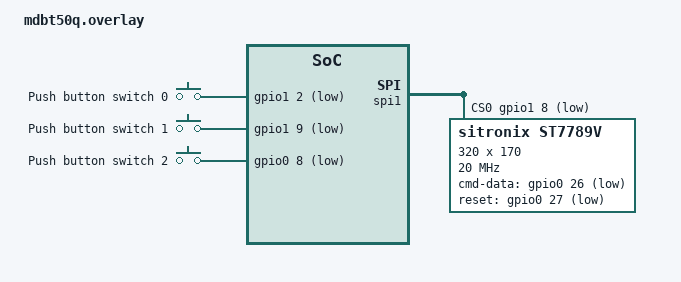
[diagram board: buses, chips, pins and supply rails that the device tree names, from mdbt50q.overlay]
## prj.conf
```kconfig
# CONFIG_USB_DEVICE_STACK=y
# CONFIG_USB_DEVICE_PRODUCT="Zephyr USB console sample"

# CONFIG_UART_LINE_CTRL=y


CONFIG_LV_Z_MEM_POOL_NUMBER_BLOCKS=8
CONFIG_MAIN_STACK_SIZE=2048
CONFIG_SYSTEM_WORKQUEUE_STACK_SIZE=3000
CONFIG_HEAP_MEM_POOL_SIZE=17000

CONFIG_DISPLAY=y
CONFIG_DISPLAY_LOG_LEVEL_ERR=y

CONFIG_LOG=y

CONFIG_LVGL=y

CONFIG_LV_MEM_CUSTOM=y
CONFIG_LV_USE_LOG=y
CONFIG_LV_USE_LABEL=y
CONFIG_LV_USE_BTN=y
CONFIG_LV_USE_IMG=y
CONFIG_LV_FONT_MONTSERRAT_14=y
CONFIG_LV_FONT_MONTSERRAT_20=y
```

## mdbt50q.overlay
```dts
// To get started, press Ctrl+Space to bring up the completion menu and view the available nodes.

// You can also use the buttons in the sidebar to perform actions on nodes.
// Actions currently available include:

// * Enabling / disabling the node
// * Adding the bus to a bus
// * Removing the node
// * Connecting ADC channels

// For more help, browse the DeviceTree documentation at https://docs.zephyrproject.org/latest/guides/dts/index.html
// You can also visit the nRF DeviceTree extension documentation at https://nrfconnect.github.io/vscode-nrf-connect/devicetree/nrfdevicetree.html

// To get started, press Ctrl+Space to bring up the completion menu and view the available nodes.

// You can also use the buttons in the sidebar to perform actions on nodes.
// Actions currently available include:

// * Enabling / disabling the node
// * Adding the bus to a bus
// * Removing the node
// * Connecting ADC channels

// For more help, browse the DeviceTree documentation at https://docs.zephyrproject.org/latest/guides/dts/index.html
// You can also visit the nRF DeviceTree extension documentation at https://nrfconnect.github.io/vscode-nrf-connect/devicetree/nrfdevicetree.html

/ {
	chosen {
		zephyr,display = &st7789v;
	};

    buttons {
        compatible = "gpio-keys";
        button0: button_0 {
            gpios = <&gpio1 2 (GPIO_PULL_UP | GPIO_ACTIVE_LOW)>;
            label = "Push button switch 0";
        };
        button1: button_1 {
            gpios = <&gpio1 9 (GPIO_PULL_UP | GPIO_ACTIVE_LOW)>;
            label = "Push button switch 1";
        };
        button2: button_2 {
            gpios = <&gpio0 8 (GPIO_PULL_UP | GPIO_ACTIVE_LOW)>;
            label = "Push button switch 2";
        };        
    };

    aliases {
		sw0 = &button0;
		sw1 = &button1;
		sw2 = &button2;
	};

};

&spi1 {
	status = "okay";
	cs-gpios = <&gpio1 8 GPIO_ACTIVE_LOW>; /* D5 TFT*/

    st7789v: st7789v@0 {
		compatible = "sitronix,st7789v";
		label = "ST7789V";
		spi-max-frequency = <20000000>;
		reg = <0>;
		cmd-data-gpios = <&gpio0 26 GPIO_ACTIVE_LOW>;	/* D9 */
		reset-gpios = <&gpio0 27 GPIO_ACTIVE_LOW>;	/* D10 */
		width = <320>;
		height = <170>;
		x-offset = <0>;
		y-offset = <35>;
		vcom = <0x2b>;
		gctrl = <0x35>;
		vrhs = <0x0f>;
		vdvs = <0x20>;
		mdac = <0x60>;
		gamma = <0x01>;
		colmod = <0x55>;
		lcm = <0x2c>;
		porch-param = [0c 0c 00 33 33];
		cmd2en-param = [5a 69 02 01];
		pwctrl1-param = [52 a1];
		pvgam-param = [D0 00 02 07 0B 1A 31 54 40 29 12 12 12 17];
		nvgam-param = [D0 00 02 07 05 15 2D 44 44 1C 18 16 1C 1D];
		ram-param = [00 F8];
		rgb-param = [CD 08 14];
	};
};
```

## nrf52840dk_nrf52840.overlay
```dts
// To get started, press Ctrl+Space to bring up the completion menu and view the available nodes.

// You can also use the buttons in the sidebar to perform actions on nodes.
// Actions currently available include:

// * Enabling / disabling the node
// * Adding the bus to a bus
// * Removing the node
// * Connecting ADC channels

// For more help, browse the DeviceTree documentation at https://docs.zephyrproject.org/latest/guides/dts/index.html
// You can also visit the nRF DeviceTree extension documentation at https://nrfconnect.github.io/vscode-nrf-connect/devicetree/nrfdevicetree.html

/ {
	chosen {
		zephyr,display = &st7789v;
	};
};

&spi1 {
	status = "okay";
	cs-gpios = <&arduino_header 15 GPIO_ACTIVE_LOW>;	/* D9 */

	st7789v: st7789v@0 {
		compatible = "sitronix,st7789v";
		label = "ST7789V";
		spi-max-frequency = <20000000>;
		reg = <0>;
		cmd-data-gpios = <&arduino_header 11 GPIO_ACTIVE_LOW>;	/* D5 */
		reset-gpios = <&arduino_header 12 GPIO_ACTIVE_LOW>;	/* D6 */
		width = <320>;
		height = <170>;
		x-offset = <0>;
		y-offset = <35>;
		vcom = <0x2b>;
		gctrl = <0x35>;
		vrhs = <0x0f>;
		vdvs = <0x20>;
		mdac = <0x60>;
		gamma = <0x01>;
		colmod = <0x55>;
		lcm = <0x2c>;
		porch-param = [0c 0c 00 33 33];
		cmd2en-param = [5a 69 02 01];
		pwctrl1-param = [52 a1];
		pvgam-param = [D0 00 02 07 0B 1A 31 54 40 29 12 12 12 17];
		nvgam-param = [D0 00 02 07 05 15 2D 44 44 1C 18 16 1C 1D];
		ram-param = [00 F8];
		rgb-param = [CD 08 14];
	};
};
```

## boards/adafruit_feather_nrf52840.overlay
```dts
// To get started, press Ctrl+Space to bring up the completion menu and view the available nodes.

// You can also use the buttons in the sidebar to perform actions on nodes.
// Actions currently available include:

// * Enabling / disabling the node
// * Adding the bus to a bus
// * Removing the node
// * Connecting ADC channels

// For more help, browse the DeviceTree documentation at https://docs.zephyrproject.org/latest/guides/dts/index.html
// You can also visit the nRF DeviceTree extension documentation at https://nrfconnect.github.io/vscode-nrf-connect/devicetree/nrfdevicetree.html

/ {
	chosen {
		zephyr,display = &st7789v;
	};
};

&feather_spi {
	status = "okay";
	cs-gpios = <&feather_header 16 GPIO_ACTIVE_LOW>;	/* D9 */

	st7789v: st7789v@0 {
		compatible = "sitronix,st7789v";
		label = "ST7789V";
		spi-max-frequency = <20000000>;
		reg = <0>;
		cmd-data-gpios = <&feather_header 14 GPIO_ACTIVE_LOW>;	/* D5 */
		reset-gpios = <&feather_header 15 GPIO_ACTIVE_LOW>;	/* D6 */
		width = <320>;
		height = <170>;
		x-offset = <0>;
		y-offset = <35>;
		vcom = <0x2b>;
		gctrl = <0x35>;
		vrhs = <0x0f>;
		vdvs = <0x20>;
		mdac = <0x60>;
		gamma = <0x01>;
		colmod = <0x55>;
		lcm = <0x2c>;
		porch-param = [0c 0c 00 33 33];
		cmd2en-param = [5a 69 02 01];
		pwctrl1-param = [52 a1];
		pvgam-param = [D0 00 02 07 0B 1A 31 54 40 29 12 12 12 17];
		nvgam-param = [D0 00 02 07 05 15 2D 44 44 1C 18 16 1C 1D];
		ram-param = [00 F8];
		rgb-param = [CD 08 14];
	};
};

/ {
	chosen {
		zephyr,console = &cdc_acm_uart0;
	};
};

&zephyr_udc0 {
	cdc_acm_uart0: cdc_acm_uart0 {
		compatible = "zephyr,cdc-acm-uart";
		label = "CDC_ACM_0";
	};
};
```

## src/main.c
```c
/*
 * Copyright (c) 2018 Jan Van Winkel <jan.van_winkel@dxplore.eu>
 *
 * SPDX-License-Identifier: Apache-2.0
 */

#include <zephyr/device.h>
#include <zephyr/devicetree.h>
#include <zephyr/drivers/display.h>
#include <zephyr/drivers/gpio.h>
#include <lvgl.h>
#include <stdio.h>
#include <string.h>
#include <zephyr/kernel.h>
#include "buttons.h"
// #include <zephyr/usb/usb_device.h>
#include <zephyr/drivers/uart.h>

#define LOG_LEVEL CONFIG_LOG_DEFAULT_LEVEL
#include <zephyr/logging/log.h>
LOG_MODULE_REGISTER(app);

#include "ui.h"

#define RENDER_INTERVAL_LVGL    K_MSEC(100)

static uint32_t count;

static lv_group_t *input_group;
static lv_indev_drv_t enc_drv;
static lv_indev_t *enc_indev;

static bool buttons_allocated = false;
static buttonId_t last_pressed;

static void lvgl_render(struct k_work *item);
K_WORK_DELAYABLE_DEFINE(lvgl_work, lvgl_render);

void run_init_work(struct k_work *item);
K_WORK_DEFINE(init_work, run_init_work);

static void onButtonPressCb(buttonPressType_t type, buttonId_t id);

static void enocoder_read(struct _lv_indev_drv_t *indev_drv, lv_indev_data_t *data)
{
    if (button_read(BUTTON_1)) {
        data->key = LV_KEY_RIGHT;
        data->state = LV_INDEV_STATE_PR;
        last_pressed = BUTTON_1;
    } else if (button_read(BUTTON_2)) {
        data->key = LV_KEY_ENTER;
        data->state = LV_INDEV_STATE_PR;
        last_pressed = BUTTON_2;
    } else if (button_read(BUTTON_3)) {
        data->key = LV_KEY_LEFT;
        data->state = LV_INDEV_STATE_PR;
        last_pressed = BUTTON_3;
    } else {
        if (last_pressed == 0xFF) {
            return;
        }
        data->state = LV_INDEV_STATE_REL;
        switch (last_pressed) {
            case BUTTON_1:
                data->key = LV_KEY_RIGHT;
                break;
            case BUTTON_2:
                data->key = LV_KEY_ENTER;
                break;
            case BUTTON_3:
                data->key = LV_KEY_LEFT;
                break;
        }
        last_pressed = 0xFF;
    }
}

static void onButtonPressCb(buttonPressType_t type, buttonId_t id)
{
    LOG_INF("Pressed %d, type: %d", id, type);

    // // Always allow force restart
    // if (type == BUTTONS_LONG_PRESS && id == BUTTON_3) {
        
    // }

    // if (type == BUTTONS_LONG_PRESS && id == BUTTON_2) {
    //     // TODO doesn't work, as this press is read later with lvgl and causes extra press in settings.
    //     // To fix each application must have exit button, maybe we can register long press on the whole view to exit
    //     // apps without input device
    //     //application_manager_exit_app();
    //     //return;
    // }

    // if (buttons_allocated) {
    //     // Handled by LVGL
    //     return;
    // }

    // if (type == BUTTONS_SHORT_PRESS) {
    //     if (id == BUTTON_3) {
    //         LOG_DBG("Close Watchface, open App Manager");
    //     } else if (id == BUTTON_2) {
    //         LOG_DBG("CloseWatchface, open Notifications page");
    //     } else {
    //         LOG_WRN("Unhandled button %d, type: %d, watch_state: %d", id, type, watch_state);
    //     }
    // } else {
    //     if (id == BUTTON_3) {
            
    //     } else {
    //         LOG_WRN("Unhandled button %d, type: %d, watch_state: %d", id, type, watch_state);
    //     }
    // }
}

static void lvgl_render(struct k_work *item)
{
    lv_task_handler();
    k_work_schedule(&lvgl_work, RENDER_INTERVAL_LVGL);
}

void run_init_work(struct k_work *item)
{
    int err;
	char count_str[11] = {0};
	const struct device *display_dev;

	LOG_INF("Hello World! %s\n", CONFIG_BOARD);

	display_dev = DEVICE_DT_GET(DT_CHOSEN(zephyr_display));
	if (!device_is_ready(display_dev)) {
		LOG_ERR("Device not ready, aborting test");
		return;
	}	

	buttonsInit(&onButtonPressCb);

	lv_indev_drv_init(&enc_drv);
    enc_drv.type = LV_INDEV_TYPE_ENCODER;
    enc_drv.read_cb = enocoder_read;
    enc_indev = lv_indev_drv_register(&enc_drv);

    input_group = lv_group_create();
    lv_group_set_default(input_group);
    lv_indev_set_group(enc_indev, input_group);

	ui_init();
	// lv_task_handler();
	display_blanking_off(display_dev);

    k_work_schedule(&lvgl_work, K_MSEC(1));
}

void main(void)
{
	k_work_submit(&init_work);
}
```

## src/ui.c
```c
// SquareLine LVGL GENERATED FILE
// EDITOR VERSION: SquareLine Studio 1.1.1
// LVGL VERSION: 8.2.0
// PROJECT: SquareLine_Project

#include "ui.h"
#include "ui_helpers.h"

///////////////////// VARIABLES ////////////////////
lv_obj_t * ui_Screen1;
void ui_event_Screen1_Button1(lv_event_t * e);
lv_obj_t * ui_Screen1_Button1;
lv_obj_t * ui_Screen1_Label3;
lv_obj_t * ui_Screen1_Label9;
lv_obj_t * ui_Screen2;
lv_obj_t * ui_Screen2_Label1;
void ui_event_Screen2_Button4(lv_event_t * e);
lv_obj_t * ui_Screen2_Button4;
lv_obj_t * ui_Screen2_Label4;
void ui_event_Screen2_Roller3(lv_event_t * e);
lv_obj_t * ui_Screen2_Roller3;
lv_obj_t * ui_Screen3;
lv_obj_t * ui_Screen3_Label2;
void ui_event_Screen3_Button5(lv_event_t * e);
lv_obj_t * ui_Screen3_Button5;
void ui_event_Screen3_Button6(lv_event_t * e);
lv_obj_t * ui_Screen3_Button6;
lv_obj_t * ui_Screen3_Label5;
lv_obj_t * ui_Screen3_Label6;
void ui_event_Screen3_Roller1(lv_event_t * e);
lv_obj_t * ui_Screen3_Roller1;
lv_obj_t * ui_Screen4;
lv_obj_t * ui_Screen1_Bar1;
lv_obj_t * ui_Screen1_Arc1;
lv_obj_t * ui_Screen1_Arc2;

static uint32_t size = 0;
static bool size_dec = false;

static void timer_cb(lv_timer_t * timer)
{
    lv_obj_invalidate(timer->user_data);
    if(size_dec) size--;
    else size++;

    if(size == 100) size_dec = true;
    else if(size == 0) size_dec = false;

    // sprintf(count_str, "%d", count/100U);
    // lv_label_set_text(count_label, count_str);
    // lv_arc_set_value(ui_Screen1_Arc1, size);
    // lv_arc_set_value(ui_Screen1_Arc2, count/100U);
    lv_bar_set_value(ui_Screen1_Bar1, size, LV_ANIM_OFF);

}

static void event_cb(lv_event_t * e)
{
    lv_obj_t * obj = lv_event_get_target(e);
    lv_obj_draw_part_dsc_t * dsc = lv_event_get_draw_part_dsc(e);
    if(dsc->class_p == &lv_obj_class && dsc->part == LV_PART_MAIN) {
        lv_draw_rect_dsc_t draw_dsc;
        lv_draw_rect_dsc_init(&draw_dsc);
        // draw_dsc.bg_color = lv_color_hex(0xffaaaa);
        draw_dsc.radius = LV_RADIUS_CIRCLE;
        draw_dsc.border_color = lv_color_hex(0xff5555);
        draw_dsc.border_width = 2;
        draw_dsc.outline_color = lv_color_hex(0xff0000);
        draw_dsc.outline_pad = 3;
        draw_dsc.outline_width = 2;

        lv_area_t a;
        a.x1 = 0;
        a.y1 = 0;
        a.x2 = size;
        a.y2 = size;
        lv_area_align(&obj->coords, &a, LV_ALIGN_CENTER, 0, 0);

        lv_draw_rect(dsc->draw_ctx, &draw_dsc, &a);
    }
}

///////////////////// ANIMATIONS ////////////////////
void onSelectedType(lv_obj_t * obj, lv_event_t * e)
{
	// Your code here
    char buf[32];
    lv_roller_get_selected_str(obj, buf, sizeof(buf));
    printk("Selected: %s\n", buf);
    _ui_screen_change(ui_Screen3, LV_SCR_LOAD_ANIM_FADE_ON, 500, 0);
}

void onSelectedWeight(lv_obj_t * obj, lv_event_t * e)
{
	// Your code here
    char buf[32];
    lv_roller_get_selected_str(obj, buf, sizeof(buf));
    printk("Selected: %s\n", buf);
    _ui_screen_change(ui_Screen4, LV_SCR_LOAD_ANIM_FADE_ON, 500, 0);
}
///////////////////// FUNCTIONS ////////////////////
void ui_event_Screen1_Button1(lv_event_t * e)
{
    lv_event_code_t event_code = lv_event_get_code(e);
    lv_obj_t * target = lv_event_get_target(e);
    if(event_code == LV_EVENT_CLICKED) {
        _ui_screen_change(ui_Screen2, LV_SCR_LOAD_ANIM_FADE_ON, 500, 0);
    }
}
void ui_event_Screen2_Button4(lv_event_t * e)
{
    lv_event_code_t event_code = lv_event_get_code(e);
    lv_obj_t * target = lv_event_get_target(e);
    if(event_code == LV_EVENT_CLICKED) {
        _ui_screen_change(ui_Screen3, LV_SCR_LOAD_ANIM_FADE_ON, 500, 0);
    }
}
void ui_event_Screen2_Roller3(lv_event_t * e)
{
    lv_event_code_t event_code = lv_event_get_code(e);
    lv_obj_t * target = lv_event_get_target(e);
    if(event_code == LV_EVENT_VALUE_CHANGED) {
        onSelectedType(target, e);
    }
}
void ui_event_Screen3_Button5(lv_event_t * e)
{
    lv_event_code_t event_code = lv_event_get_code(e);
    lv_obj_t * target = lv_event_get_target(e);
    if(event_code == LV_EVENT_CLICKED) {
        _ui_screen_change(ui_Screen2, LV_SCR_LOAD_ANIM_FADE_ON, 500, 0);
    }
}
void ui_event_Screen3_Button6(lv_event_t * e)
{
    lv_event_code_t event_code = lv_event_get_code(e);
    lv_obj_t * target = lv_event_get_target(e);
    if(event_code == LV_EVENT_CLICKED) {
        _ui_screen_change(ui_Screen4, LV_SCR_LOAD_ANIM_FADE_ON, 500, 0);
    }
}
void ui_event_Screen3_Roller1(lv_event_t * e)
{
    lv_event_code_t event_code = lv_event_get_code(e);
    lv_obj_t * target = lv_event_get_target(e);
    if(event_code == LV_EVENT_VALUE_CHANGED) {
        onSelectedWeight(target, e);
    }
}

///////////////////// SCREENS ////////////////////
void ui_Screen1_screen_init(void)
{
    ui_Screen1 = lv_obj_create(NULL);
    lv_obj_clear_flag(ui_Screen1, LV_OBJ_FLAG_CLICKABLE | LV_OBJ_FLAG_SCROLLABLE);      /// Flags

    ui_Screen1_Button1 = lv_btn_create(ui_Screen1);
    lv_obj_set_width(ui_Screen1_Button1, 50);
    lv_obj_set_height(ui_Screen1_Button1, 50);
    lv_obj_set_x(ui_Screen1_Button1, 125);
    lv_obj_set_y(ui_Screen1_Button1, 60);
    lv_obj_set_align(ui_Screen1_Button1, LV_ALIGN_CENTER);
    lv_obj_add_flag(ui_Screen1_Button1, LV_OBJ_FLAG_SCROLL_ON_FOCUS);     /// Flags
    lv_obj_clear_flag(ui_Screen1_Button1, LV_OBJ_FLAG_SCROLLABLE);      /// Flags

    ui_Screen1_Label3 = lv_label_create(ui_Screen1);
    lv_obj_set_width(ui_Screen1_Label3, LV_SIZE_CONTENT);   /// 1
    lv_obj_set_height(ui_Screen1_Label3, LV_SIZE_CONTENT);    /// 1
    lv_obj_set_x(ui_Screen1_Label3, 125);
    lv_obj_set_y(ui_Screen1_Label3, 60);
    lv_obj_set_align(ui_Screen1_Label3, LV_ALIGN_CENTER);
    lv_label_set_text(ui_Screen1_Label3, "Next");

    ui_Screen1_Label9 = lv_label_create(ui_Screen1);
    lv_obj_set_width(ui_Screen1_Label9, LV_SIZE_CONTENT);   /// 1
    lv_obj_set_height(ui_Screen1_Label9, LV_SIZE_CONTENT);    /// 1
    lv_obj_set_align(ui_Screen1_Label9, LV_ALIGN_CENTER);
    lv_label_set_text(ui_Screen1_Label9, "Welcome");
    lv_obj_set_style_text_font(ui_Screen1_Label9, &lv_font_montserrat_20, LV_PART_MAIN | LV_STATE_DEFAULT);

    lv_obj_add_event_cb(ui_Screen1_Button1, ui_event_Screen1_Button1, LV_EVENT_ALL, NULL);

}
void ui_Screen2_screen_init(void)
{
    ui_Screen2 = lv_obj_create(NULL);
    lv_obj_clear_flag(ui_Screen2, LV_OBJ_FLAG_CLICKABLE | LV_OBJ_FLAG_SCROLLABLE);      /// Flags

    ui_Screen2_Label1 = lv_label_create(ui_Screen2);
    lv_obj_set_width(ui_Screen2_Label1, LV_SIZE_CONTENT);   /// 1
    lv_obj_set_height(ui_Screen2_Label1, LV_SIZE_CONTENT);    /// 1
    lv_obj_set_x(ui_Screen2_Label1, 0);
    lv_obj_set_y(ui_Screen2_Label1, -50);
    lv_obj_set_align(ui_Screen2_Label1, LV_ALIGN_CENTER);
    lv_label_set_text(ui_Screen2_Label1, "Select Patient Type");
    lv_obj_set_style_text_font(ui_Screen2_Label1, &lv_font_montserrat_20, LV_PART_MAIN | LV_STATE_DEFAULT);

    ui_Screen2_Button4 = lv_btn_create(ui_Screen2);
    lv_obj_set_width(ui_Screen2_Button4, 50);
    lv_obj_set_height(ui_Screen2_Button4, 50);
    lv_obj_set_x(ui_Screen2_Button4, 125);
    lv_obj_set_y(ui_Screen2_Button4, 60);
    lv_obj_set_align(ui_Screen2_Button4, LV_ALIGN_CENTER);
    lv_obj_add_flag(ui_Screen2_Button4, LV_OBJ_FLAG_SCROLL_ON_FOCUS);     /// Flags
    lv_obj_clear_flag(ui_Screen2_Button4, LV_OBJ_FLAG_SCROLLABLE);      /// Flags

    ui_Screen2_Label4 = lv_label_create(ui_Screen2);
    lv_obj_set_width(ui_Screen2_Label4, LV_SIZE_CONTENT);   /// 1
    lv_obj_set_height(ui_Screen2_Label4, LV_SIZE_CONTENT);    /// 1
    lv_obj_set_x(ui_Screen2_Label4, 125);
    lv_obj_set_y(ui_Screen2_Label4, 60);
    lv_obj_set_align(ui_Screen2_Label4, LV_ALIGN_CENTER);
    lv_label_set_text(ui_Screen2_Label4, "Next");

    ui_Screen2_Roller3 = lv_roller_create(ui_Screen2);
    lv_roller_set_options(ui_Screen2_Roller3, "Adult\nChild\nInfant", LV_ROLLER_MODE_NORMAL);
    lv_obj_set_height(ui_Screen2_Roller3, 100);
    lv_obj_set_width(ui_Screen2_Roller3, LV_SIZE_CONTENT);   /// 1
    lv_obj_set_x(ui_Screen2_Roller3, 0);
    lv_obj_set_y(ui_Screen2_Roller3, 15);
    lv_obj_set_align(ui_Screen2_Roller3, LV_ALIGN_CENTER);

    lv_obj_add_event_cb(ui_Screen2_Button4, ui_event_Screen2_Button4, LV_EVENT_ALL, NULL);
    lv_obj_add_event_cb(ui_Screen2_Roller3, ui_event_Screen2_Roller3, LV_EVENT_ALL, NULL);

}
void ui_Screen3_screen_init(void)
{
    ui_Screen3 = lv_obj_create(NULL);
    lv_obj_clear_flag(ui_Screen3, LV_OBJ_FLAG_CLICKABLE | LV_OBJ_FLAG_SCROLLABLE);      /// Flags

    ui_Screen3_Label2 = lv_label_create(ui_Screen3);
    lv_obj_set_width(ui_Screen3_Label2, LV_SIZE_CONTENT);   /// 1
    lv_obj_set_height(ui_Screen3_Label2, LV_SIZE_CONTENT);    /// 1
    lv_obj_set_x(ui_Screen3_Label2, -4);
    lv_obj_set_y(ui_Screen3_Label2, -49);
    lv_obj_set_align(ui_Screen3_Label2, LV_ALIGN_CENTER);
    lv_label_set_text(ui_Screen3_Label2, "Select Patient's Weight");
    lv_obj_set_style_text_font(ui_Screen3_Label2, &lv_font_montserrat_20, LV_PART_MAIN | LV_STATE_DEFAULT);

    ui_Screen3_Button5 = lv_btn_create(ui_Screen3);
    lv_obj_set_width(ui_Screen3_Button5, 50);
    lv_obj_set_height(ui_Screen3_Button5, 50);
    lv_obj_set_x(ui_Screen3_Button5, -125);
    lv_obj_set_y(ui_Screen3_Button5, 60);
    lv_obj_set_align(ui_Screen3_Button5, LV_ALIGN_CENTER);
    lv_obj_add_flag(ui_Screen3_Button5, LV_OBJ_FLAG_SCROLL_ON_FOCUS);     /// Flags
    lv_obj_clear_flag(ui_Screen3_Button5, LV_OBJ_FLAG_SCROLLABLE);      /// Flags

    ui_Screen3_Button6 = lv_btn_create(ui_Screen3);
    lv_obj_set_width(ui_Screen3_Button6, 50);
    lv_obj_set_height(ui_Screen3_Button6, 50);
    lv_obj_set_x(ui_Screen3_Button6, 125);
    lv_obj_set_y(ui_Screen3_Button6, 60);
    lv_obj_set_align(ui_Screen3_Button6, LV_ALIGN_CENTER);
    lv_obj_add_flag(ui_Screen3_Button6, LV_OBJ_FLAG_SCROLL_ON_FOCUS);     /// Flags
    lv_obj_clear_flag(ui_Screen3_Button6, LV_OBJ_FLAG_SCROLLABLE);      /// Flags

    ui_Screen3_Label5 = lv_label_create(ui_Screen3);
    lv_obj_set_width(ui_Screen3_Label5, LV_SIZE_CONTENT);   /// 1
    lv_obj_set_height(ui_Screen3_Label5, LV_SIZE_CONTENT);    /// 1
    lv_obj_set_x(ui_Screen3_Label5, 125);
    lv_obj_set_y(ui_Screen3_Label5, 60);
    lv_obj_set_align(ui_Screen3_Label5, LV_ALIGN_CENTER);
    lv_label_set_text(ui_Screen3_Label5, "Next");

    ui_Screen3_Label6 = lv_label_create(ui_Screen3);
    lv_obj_set_width(ui_Screen3_Label6, LV_SIZE_CONTENT);   /// 1
    lv_obj_set_height(ui_Screen3_Label6, LV_SIZE_CONTENT);    /// 1
    lv_obj_set_x(ui_Screen3_Label6, -125);
    lv_obj_set_y(ui_Screen3_Label6, 60);
    lv_obj_set_align(ui_Screen3_Label6, LV_ALIGN_CENTER);
    lv_label_set_text(ui_Screen3_Label6, "Back");

    ui_Screen3_Roller1 = lv_roller_create(ui_Screen3);
    lv_roller_set_options(ui_Screen3_Roller1, "10kg\n20kg\n30kg\n40kg\n50kg\n60kg\n70kg\n80kg\n90kg\n100kg",
                          LV_ROLLER_MODE_NORMAL);
    lv_obj_set_height(ui_Screen3_Roller1, 100);
    lv_obj_set_width(ui_Screen3_Roller1, LV_SIZE_CONTENT);   /// 1
    lv_obj_set_x(ui_Screen3_Roller1, 0);
    lv_obj_set_y(ui_Screen3_Roller1, 15);
    lv_obj_set_align(ui_Screen3_Roller1, LV_ALIGN_CENTER);

    lv_obj_add_event_cb(ui_Screen3_Button5, ui_event_Screen3_Button5, LV_EVENT_ALL, NULL);
    lv_obj_add_event_cb(ui_Screen3_Button6, ui_event_Screen3_Button6, LV_EVENT_ALL, NULL);
    lv_obj_add_event_cb(ui_Screen3_Roller1, ui_event_Screen3_Roller1, LV_EVENT_ALL, NULL);

}
void ui_Screen4_screen_init(void)
{
    ui_Screen4 = lv_obj_create(NULL);
    lv_obj_clear_flag(ui_Screen4, LV_OBJ_FLAG_SCROLLABLE);      /// Flags

    ui_Screen1_Bar1 = lv_bar_create(ui_Screen4);
    lv_obj_set_width(ui_Screen1_Bar1, 150);
    lv_obj_set_height(ui_Screen1_Bar1, 10);
    lv_obj_set_x(ui_Screen1_Bar1, 0);
    lv_obj_set_y(ui_Screen1_Bar1, -70);
    lv_obj_set_align(ui_Screen1_Bar1, LV_ALIGN_CENTER);
    lv_obj_clear_flag(ui_Screen1_Bar1, LV_OBJ_FLAG_PRESS_LOCK | LV_OBJ_FLAG_CLICK_FOCUSABLE | LV_OBJ_FLAG_GESTURE_BUBBLE |
                      LV_OBJ_FLAG_SNAPPABLE);     /// Flags

    // ui_Screen1_Arc1 = lv_arc_create(ui_Screen4);
    // lv_obj_set_width(ui_Screen1_Arc1, 150);
    // lv_obj_set_height(ui_Screen1_Arc1, 150);
    // lv_obj_set_x(ui_Screen1_Arc1, 0);
    // lv_obj_set_y(ui_Screen1_Arc1, 15);
    // lv_obj_set_align(ui_Screen1_Arc1, LV_ALIGN_CENTER);
    // lv_obj_clear_flag(ui_Screen1_Arc1, LV_OBJ_FLAG_CLICKABLE | LV_OBJ_FLAG_PRESS_LOCK | LV_OBJ_FLAG_CLICK_FOCUSABLE |
    //                   LV_OBJ_FLAG_GESTURE_BUBBLE | LV_OBJ_FLAG_SNAPPABLE | LV_OBJ_FLAG_SCROLLABLE | LV_OBJ_FLAG_SCROLL_ELASTIC |
    //                   LV_OBJ_FLAG_SCROLL_MOMENTUM | LV_OBJ_FLAG_SCROLL_CHAIN);     /// Flags
    // lv_arc_set_value(ui_Screen1_Arc1, 0);

    // ui_Screen1_Arc2 = lv_arc_create(ui_Screen4);
    // lv_obj_set_width(ui_Screen1_Arc2, 100);
    // lv_obj_set_height(ui_Screen1_Arc2, 100);
    // lv_obj_set_x(ui_Screen1_Arc2, 0);
    // lv_obj_set_y(ui_Screen1_Arc2, 15);
    // lv_obj_set_align(ui_Screen1_Arc2, LV_ALIGN_CENTER);
    // lv_obj_clear_flag(ui_Screen1_Arc2, LV_OBJ_FLAG_CLICKABLE | LV_OBJ_FLAG_PRESS_LOCK | LV_OBJ_FLAG_CLICK_FOCUSABLE |
    //                   LV_OBJ_FLAG_GESTURE_BUBBLE | LV_OBJ_FLAG_SNAPPABLE | LV_OBJ_FLAG_SCROLLABLE | LV_OBJ_FLAG_SCROLL_ELASTIC |
    //                   LV_OBJ_FLAG_SCROLL_MOMENTUM | LV_OBJ_FLAG_SCROLL_CHAIN);     /// Flags
    // lv_arc_set_value(ui_Screen1_Arc2, 0);

    lv_obj_t * cont = lv_obj_create(ui_Screen4);
    // lv_obj_center(cont);
    lv_obj_set_x(cont, 0);
    lv_obj_set_y(cont, 15);
    lv_obj_set_align(cont, LV_ALIGN_CENTER);
    lv_obj_add_event_cb(cont, event_cb, LV_EVENT_DRAW_PART_END, NULL);
    lv_timer_create(timer_cb, 30, cont);
}

void ui_init(void)
{
    lv_disp_t * dispp = lv_disp_get_default();
    lv_theme_t * theme = lv_theme_default_init(dispp, lv_palette_main(LV_PALETTE_BLUE), lv_palette_main(LV_PALETTE_RED),
                                               true, LV_FONT_DEFAULT);
    lv_disp_set_theme(dispp, theme);
    ui_Screen1_screen_init();
    ui_Screen2_screen_init();
    ui_Screen3_screen_init();
    ui_Screen4_screen_init();
    lv_disp_load_scr(ui_Screen1);
}
```

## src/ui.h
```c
// SquareLine LVGL GENERATED FILE
// EDITOR VERSION: SquareLine Studio 1.1.1
// LVGL VERSION: 8.2.0
// PROJECT: SquareLine_Project

#ifndef _SQUARELINE_PROJECT_UI_H
#define _SQUARELINE_PROJECT_UI_H

#ifdef __cplusplus
extern "C" {
#endif

#include "lvgl.h"

extern lv_obj_t * ui_Screen1;
void ui_event_Screen1_Button1(lv_event_t * e);
extern lv_obj_t * ui_Screen1_Button1;
extern lv_obj_t * ui_Screen1_Label3;
extern lv_obj_t * ui_Screen1_Label9;
extern lv_obj_t * ui_Screen2;
extern lv_obj_t * ui_Screen2_Label1;
void ui_event_Screen2_Button4(lv_event_t * e);
extern lv_obj_t * ui_Screen2_Button4;
extern lv_obj_t * ui_Screen2_Label4;
void ui_event_Screen2_Roller3(lv_event_t * e);
extern lv_obj_t * ui_Screen2_Roller3;
extern lv_obj_t * ui_Screen3;
extern lv_obj_t * ui_Screen3_Label2;
void ui_event_Screen3_Button5(lv_event_t * e);
extern lv_obj_t * ui_Screen3_Button5;
void ui_event_Screen3_Button6(lv_event_t * e);
extern lv_obj_t * ui_Screen3_Button6;
extern lv_obj_t * ui_Screen3_Label5;
extern lv_obj_t * ui_Screen3_Label6;
void ui_event_Screen3_Roller1(lv_event_t * e);
extern lv_obj_t * ui_Screen3_Roller1;
extern lv_obj_t * ui_Screen4;
extern lv_obj_t * ui_Screen1_Bar1;
extern lv_obj_t * ui_Screen1_Arc1;
extern lv_obj_t * ui_Screen1_Arc2;

void onSelectedType(lv_obj_t * obj, lv_event_t * e);
void onSelectedWeight(lv_obj_t * obj, lv_event_t * e);







void ui_init(void);

#ifdef __cplusplus
} /*extern "C"*/
#endif

#endif
```
